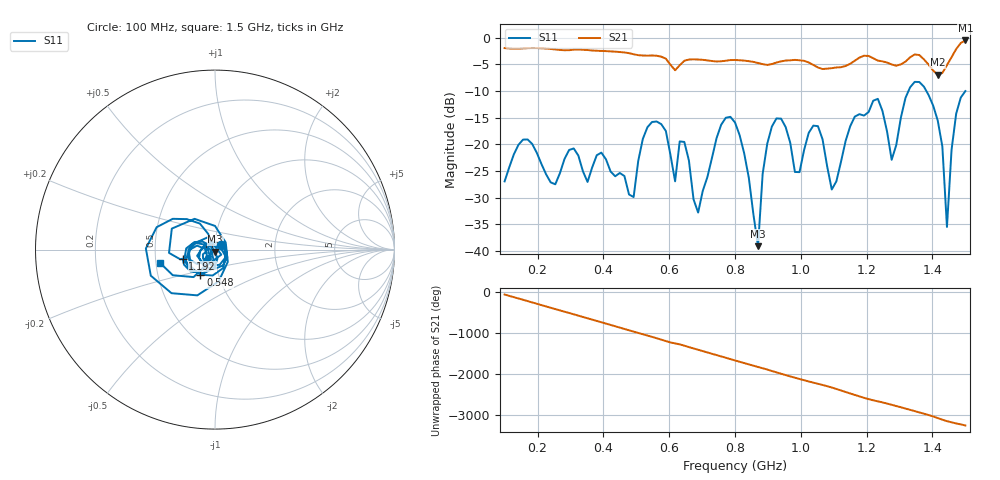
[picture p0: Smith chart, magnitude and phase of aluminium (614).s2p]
! NanoVNA-App
! Date: 2025-09-25 15:00:03
! Start: 100MHz Stop: 1,5GHz Points: 101
! S-Parameter data: F S11 S21 S12 S22
# Hz S RI R 50
!  Frequency  S11_Real  S11_Imag  S21_Real  S21_Imag  S12_Real  S12_Imag  S22_Real  S22_Imag
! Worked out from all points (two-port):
!   101 points, 100 MHz to 1.5 GHz, reference 50 ohm
!   highest |S21| = -0.48 dB at 1.5 GHz (marker M1); lowest = -6.9 dB at 1.416 GHz (marker M2)
!   |S21| within 3 dB of the highest: start of sweep to 571.9 MHz; 1.459 GHz to end of sweep (the widest 2 of 4)
!   lowest |S11| = -39.1 dB at 870 MHz (marker M3), VSWR 1.02, Z = 50.1 - j1.1 ohm
!   |S11| at or under -10 dB: start of sweep to 1.327 GHz; 1.382 GHz to 1.5 GHz (118.4 MHz wide, 8.21 % of centre)
!   S12 and S22 are empty: the file has one direction only
!   S11 on the Smith chart (normalised r, x): 100 MHz: 1.07, +0.06; 548 MHz: 0.82, -0.24; 1.192 GHz: 0.69, -0.07; 1.5 GHz: 0.52, -0.08
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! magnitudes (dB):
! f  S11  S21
! 100 MHz  -27.0  -1.9
! 156 MHz  -19.1  -2.0
! 338 MHz  -25.1  -2.2
! 492 MHz  -29.9  -3.1
! 548 MHz  -15.8  -3.3
! 576 MHz  -16.2  -3.5
! 646 MHz  -19.5  -4.3
! 688 MHz  -32.8  -4.1
! 800 MHz  -15.9  -4.2
! 870 MHz  -39.1  -4.7
! 912 MHz  -16.7  -4.9
! 996 MHz  -25.2  -4.2
! 1.038 GHz  -16.5  -5.1
! 1.094 GHz  -28.5  -5.7
! 1.192 GHz  -14.6  -3.4
! 1.234 GHz  -11.5  -4.3
! 1.276 GHz  -22.9  -5.0
! 1.346 GHz  -8.3  -3.1
! 1.416 GHz  -15.5  -6.9
! 1.444 GHz  -35.5  -5.1
! 1.472 GHz  -14.2  -2.1
! 1.5 GHz  -10.0  -0.5
